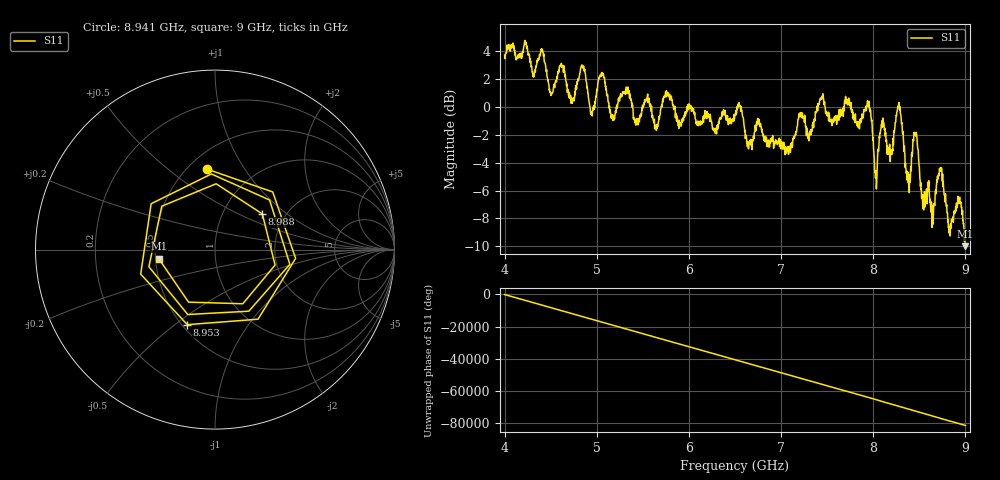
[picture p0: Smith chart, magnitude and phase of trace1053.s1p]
! Created with skrf 1.8.0 (http://scikit-rf.org).
# Hz S RI R 50.0
!freq ReS11 ImS11
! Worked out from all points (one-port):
!   1601 points, 4 GHz to 9 GHz, reference 50 ohm
!   lowest |S11| = -10.0 dB at 9 GHz (marker M1), VSWR 1.93, Z = 26.1 - j2.97 ohm
!   |S11| at or under -10 dB: nowhere
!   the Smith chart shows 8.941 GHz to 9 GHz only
!   S11 on the Smith chart (normalised r, x): 8.941 GHz: 0.62, +0.69; 8.953 GHz: 0.53, -0.55; 8.988 GHz: 1.53, +0.68; 9 GHz: 0.52, -0.06
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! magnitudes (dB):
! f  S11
! 4 GHz  3.7
! 4.403 GHz  4.1
! 4.506 GHz  0.9
! 4.625 GHz  2.9
! 4.734 GHz  0.2
! 4.853 GHz  2.8
! 4.944 GHz  -0.4
! 5.05 GHz  2.2
! 5.169 GHz  -0.8
! 5.25 GHz  0.6
! 5.875 GHz  -1.1
! 6.5 GHz  -0.6
! 7.125 GHz  -2.7
! 7.75 GHz  0.1
! 7.953 GHz  0.2
! 8.031 GHz  -5.0
! 8.091 GHz  -1.3
! 8.188 GHz  -3.2
! 8.278 GHz  0.3
! 8.375 GHz  -4.7
! 8.456 GHz  -1.9
! 8.55 GHz  -6.3
! 8.728 GHz  -4.5
! 8.834 GHz  -9.3
! 8.941 GHz  -6.9
! 8.953 GHz  -7.0
! 8.988 GHz  -9.6
! 9 GHz  -10.0
